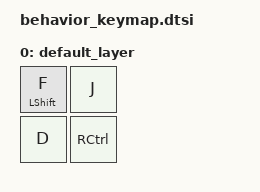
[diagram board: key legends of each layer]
#include <dt-bindings/zmk/keys.h>
#include <behaviors.dtsi>
#include <dt-bindings/zmk/kscan_mock.h>

/ {
	behaviors {
		ht_bal: behavior_hold_tap_balanced {
			compatible = "zmk,behavior-hold-tap";
			label = "HOLD_TAP_BALANCED";
			#binding-cells = <2>;
			flavor = "balanced";
			tapping-term-ms = <300>;
			quick-tap-ms = <200>;
			bindings = <&kp>, <&kp>;
			hold-enabler-keys = <1 2 3>;
		};
	};

	keymap {
		compatible = "zmk,keymap";
		label ="Default keymap";

		default_layer {
			bindings = <
				&ht_bal LEFT_SHIFT F &kp J
				&kp D &kp RIGHT_CONTROL>;
		};
	};
};
